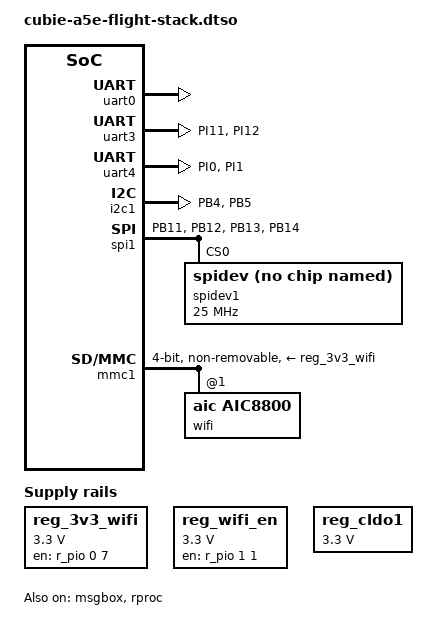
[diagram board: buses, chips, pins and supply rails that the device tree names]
/dts-v1/;
/plugin/;

/*
 * ============================================================================
 *                    RADXA CUBIE A5E — FLIGHT STACK OVERLAY
 * ============================================================================
 * Hardware Resource Partitioning:
 *  - RISC-V Co-Processor (XuanTie E906 Dedicated):
 *      * UART2 (Serial Console / CRSF / Telemetry) on Pins 11 & 13 (PB0/PB1)
 *      * SPI0 (Dual-SPI for FPGA @ CS0, Single-SPI for IMU @ CS1) on Pins 19, 21, 23, 24, 26 (Port C)
 *      * FPGA Frame Ready ISR (GPIO Input) on Pin 22
 *      * IMU Data Ready (DRDY) ISR (GPIO Input) on Pin 29
 *  - Linux Host (ARM Cortex-A55):
 *      * UART0 (Debug Console Terminal) on Pins 8 & 10 (PB9/PB10)
 *      * SPI1 (General Purpose Expansion SPI) on Pins 35, 38, 40, 12
 *      * SPI2 (General Purpose Expansion SPI) on Pins 7, 15, 16, 18
 *      * I2C1 (Expansion I2C) on Pins 3 & 5
 *      * I2C3 (Compass / Barometer) on Pins 27 & 28
 *
 * Physical 40-Pin Header Layout Mapping (Verified against Radxa Cubie A5E Schematic v1.2):
 * 
 *                  3.3V Power [ 1] [ 2] 5V Power (Input/Output)
 *            I2C1-SDA (PB5)   [ 3] [ 4] 5V Power (Input/Output)
 *            I2C1-SCL (PB4)   [ 5] [ 6] GND
 *            SPI2-CLK (PI7)   [ 7] [ 8] UART0-TX (PB9 - Linux Serial Console)
 *                         GND [ 9] [10] UART0-RX (PB10 - Linux Serial Console)
 *            GPIO/PWM (PI9)   [11] [12] SPI1-CS0 (PI2 / Alternate)
 *            GPIO/PWM (PI10)  [13] [14] GND
 *            S-UART0-TX(PL12) [15] [16] UART3-TX (PI11 - GPS Serial RX)
 *                  3.3V Power [17] [18] GPIO/PWM (PI14)
 *   [Dual-SPI] SPI1-MOSI(PB13)[19] [20] GND
 *   [Dual-SPI] SPI1-MISO(PB14)[21] [22] FPGA Frame Ready ISR (PL13)
 *   [Dual-SPI] SPI1-CLK (PB12)[23] [24] SPI1-CS0 (PB11 - FPGA Chip Select)
 *                         GND [25] [26] UART4-TX / IMU-CS1 (PI0)
 *            I2C2-SDA (PI16)  [27] [28] I2C2-SCK (PI15)
 *            IMU DRDY (PI8)   [29] [30] GND
 *            UART3-RX (PI12)  [31] [32] UART4-RX (PI1)
 *            SPI2-CS0 (PI6)   [33] [34] GND
 *            GPIO     (PI13)  [35] [36] SPI1-CLK (PI3)
 *            GPADC2           [37] [38] SPI1-MISO (PI5)
 *                         GND [39] [40] SPI1-MOSI (PI4)
 * ============================================================================
 */

/* UART0: Debug Console Terminal for Linux Host (Pins 8 and 10) */
&uart0 {
    status = "okay";
};

/* UART3: High-Speed Navigation Serial Port for GPS (Pins 16 and 31) */
&uart3 {
    pinctrl-names = "default";
    pinctrl-0 = <&uart3_pi_pins>;
    status = "okay";
};

/* UART4: Alternate Serial Port (Pins 26 and 32) */
&uart4 {
    pinctrl-names = "default";
    pinctrl-0 = <&uart4_pi_pins>;
    status = "okay";
};

/* SPI0: Port C unrouted on 40-pin header - Disabled in Linux */
&spi0 {
    status = "disabled";
};

&{/aliases} {
    ethernet0 = "/soc/ethernet@4500000";
    ethernet1 = "/soc/ethernet@4510000";
    serial0 = "/soc/serial@2500000";
    serial3 = "/soc/serial@2500c00";
    serial4 = "/soc/serial@2501000";
    i2c1 = "/soc/i2c@2502400";
    spi1 = "/soc/spi@4026000";
    mmc0 = "/soc/mmc@4020000";
    mmc1 = "/soc/mmc@4021000";
};

&{/} {
    #address-cells = <2>;
    #size-cells = <2>;
    ranges;
    cubie-flight-stack-version = "1.5";

    /* PL7 (Bank 0, Pin 7, Active High): Hardware 3.3V Power Switch for AIC8800 Wi-Fi/BT */
    reg_3v3_wifi: 3v3-wifi {
        compatible = "regulator-fixed";
        regulator-name = "3v3-wifi";
        regulator-min-microvolt = <3300000>;
        regulator-max-microvolt = <3300000>;
        gpio = <&r_pio 0 7 0>;
        enable-active-high;
        regulator-always-on;
    };

    /* PM1 (Bank 1, Pin 1, Active High): Hardware Enable / WL_REG_ON */
    reg_wifi_en: wifi-en {
        compatible = "regulator-fixed";
        regulator-name = "wifi-en";
        regulator-min-microvolt = <3300000>;
        regulator-max-microvolt = <3300000>;
        gpio = <&r_pio 1 1 0>;
        enable-active-high;
        regulator-always-on;
        startup-delay-us = <100000>;
    };

    reserved-memory {
        #address-cells = <2>;
        #size-cells = <2>;
        ranges;

        riscvsram0_reserved: riscvsram0@7280000 {
            reg = <0x0 0x07280000 0x0 0x40000>;
            no-map;
        };

        /* Virtio vrings and buffers: DMA pool for the remoteproc device */
        rproc_vdev: vdev@48000000 {
            compatible = "shared-dma-pool";
            reg = <0x0 0x48000000 0x0 0x00100000>;
            no-map;
        };

        /* E906 firmware DRAM (e906_ddr.ld, testDRAMMsg payload pool) */
        rproc_dram: dram@48100000 {
            reg = <0x0 0x48100000 0x0 0x00100000>;
            no-map;
        };
    };
};

/* Configure Port C (VCC-PC) and Port K (VCC-PK) IO rail to 3.3V for 40-pin header peripherals */
&reg_cldo1 {
    regulator-min-microvolt = <3300000>;
    regulator-max-microvolt = <3300000>;
    regulator-always-on;
};

&reg_bldo1 {
    regulator-always-on;
};

/* Pinmux Controller Configurations for 40-Pin Header */
&pio {
    i2c1_pb_pins: i2c1-pb-pins {
        pins = "PB4", "PB5";
        function = "i2c1";
        bias-pull-up;
    };

    uart3_pi_pins: uart3-pi-pins {
        pins = "PI11", "PI12";
        function = "uart3";
    };

    uart4_pi_pins: uart4-pi-pins {
        pins = "PI0", "PI1";
        function = "uart4";
    };

    spi1_pb_pins: spi1-pb-pins {
        pins = "PB11", "PB12", "PB13", "PB14";
        function = "spi1";
    };
};

/* I2C1: General Expansion Bus (Enabled on physical pins 3 and 5) */
&i2c1 {
    pinctrl-names = "default";
    pinctrl-0 = <&i2c1_pb_pins>;
    status = "okay";
};

/* SPI1: High-Speed Dual-SPI / Single-SPI Bus (Enabled on physical pins 24, 23, 19, 21) */
&spi1 {
    pinctrl-names = "default";
    pinctrl-0 = <&spi1_pb_pins>;
    status = "okay";
    #address-cells = <1>;
    #size-cells = <0>;
    num-cs = <1>;
    
    /* User-space SPIDEV node (/dev/spidev1.0) */
    spidev1@0 {
        compatible = "rohm,dh2228fv";
        reg = <0>;
        spi-max-frequency = <25000000>;
        status = "okay";
    };
};

&mmc1 {
    /* Enumerate the onboard AIC8800 SDIO WLAN device on MMC host 1 */
    #address-cells = <1>;
    #size-cells = <0>;
    bus-width = <4>;
    max-frequency = <25000000>;
    non-removable;
    keep-power-in-suspend;
    pinctrl-names = "default";
    pinctrl-0 = <&mmc1_pins>;
    vmmc-supply = <&reg_3v3_wifi>;
    vqmmc-supply = <&reg_bldo1>;
    status = "okay";

    wifi: wifi@1 {
        reg = <1>;
        compatible = "aic,aic8800";
        status = "okay";
    };
};

&msgbox {
    status = "okay";
};

&rproc {
    firmware-name = "riscv-firmware.elf";
    memory-region = <&rproc_vdev>;
    status = "okay";
};



